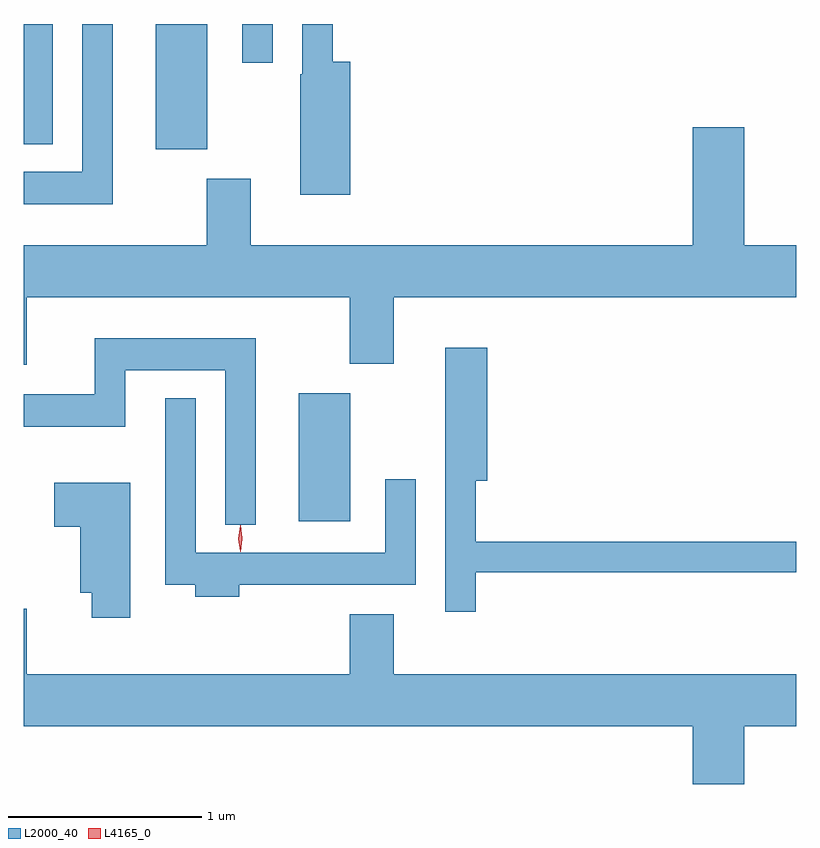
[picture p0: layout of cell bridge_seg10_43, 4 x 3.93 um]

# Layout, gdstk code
import gdstk
lib = gdstk.Library(unit=1e-6, precision=1e-09)
def R(c, l, rs):  # rectangles x0, y0, x1, y1
    for r in rs: c.add(gdstk.rectangle(r[:2], r[2:], *l))
def P(c, l, *ps):  # polygons
    for p in ps: c.add(gdstk.Polygon(p, *l))
L2000_40 = (2000, 40)
L4165_0 = (4165, 0)

bridge_seg10_43 = lib.new_cell('bridge_seg10_43')
R(bridge_seg10_43, L2000_40, [(1591.656,2161.596,1591.924,2162.259), (1590.916,2163.521,1591.184,2164.169), (1590.233,2163.548,1590.384,2164.169), (1591.366,2163.968,1591.524,2164.169)])
P(bridge_seg10_43, L2000_40, [(1590.694,2164.169),(1590.536,2164.169),(1590.536,2163.404),(1590.233,2163.404),(1590.233,2163.236),(1590.694,2163.236)],
  [(1591.924,2163.974),(1591.834,2163.974),(1591.834,2164.169),(1591.676,2164.169),(1591.676,2163.91),(1591.666,2163.91),(1591.666,2163.286),(1591.924,2163.286)],
  [(1590.249,2162.756),(1591.921,2162.756),(1591.921,2162.411),(1592.149,2162.411),(1592.149,2162.756),(1594.233,2162.756),(1594.233,2163.024),(1593.964,2163.024),(1593.964,2163.634),(1593.696,2163.634),(1593.696,2163.024),(1591.409,2163.024),(1591.409,2163.369),(1591.181,2163.369),(1591.181,2163.024),(1590.233,2163.024),(1590.233,2162.406),(1590.249,2162.406)],
  [(1591.434,2162.544),(1590.601,2162.544),(1590.601,2162.254),(1590.233,2162.254),(1590.233,2162.086),(1590.759,2162.086),(1590.759,2162.376),(1591.276,2162.376),(1591.276,2161.578),(1591.434,2161.578)],
  [(1592.574,2161.331),(1594.233,2161.331),(1594.233,2161.489),(1592.574,2161.489),(1592.574,2161.806),(1592.634,2161.806),(1592.634,2162.494),(1592.416,2162.494),(1592.416,2161.128),(1592.574,2161.128)],
  [(1591.349,2161.266),(1592.264,2161.266),(1592.264,2161.813),(1592.106,2161.813),(1592.106,2161.434),(1591.124,2161.434),(1591.124,2162.233),(1590.966,2162.233),(1590.966,2161.266),(1591.121,2161.266),(1591.121,2161.206),(1591.349,2161.206)],
  [(1590.784,2161.794),(1590.391,2161.794),(1590.391,2161.566),(1590.526,2161.566),(1590.526,2161.226),(1590.586,2161.226),(1590.586,2161.096),(1590.784,2161.096)],
  [(1593.964,2160.536),(1594.233,2160.536),(1594.233,2160.804),(1592.149,2160.804),(1592.149,2161.114),(1591.921,2161.114),(1591.921,2160.804),(1590.249,2160.804),(1590.249,2161.144),(1590.233,2161.144),(1590.233,2160.536),(1593.696,2160.536),(1593.696,2160.236),(1593.964,2160.236)])
P(bridge_seg10_43, L4165_0, [(1591.355,2161.437),(1591.346,2161.507),(1591.355,2161.576),(1591.356,2161.576),(1591.356,2161.576),(1591.366,2161.507),(1591.356,2161.437),(1591.356,2161.437)],
  [(1591.355,2161.439),(1591.355,2161.44),(1591.345,2161.506),(1591.355,2161.572),(1591.355,2161.573),(1591.356,2161.572),(1591.365,2161.506),(1591.356,2161.44)])

lib.write_gds('bridge_seg10_43.gds')
